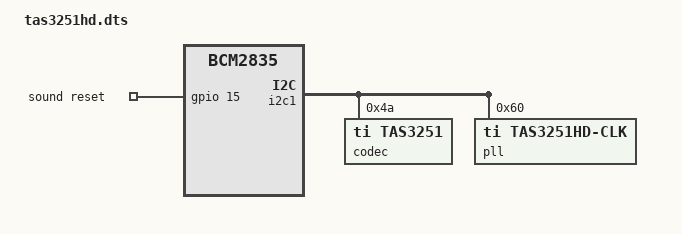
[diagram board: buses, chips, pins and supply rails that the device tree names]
// Definitions for HiFiBerry DAC+ HD
// dtc -I dts -O dtb -o /boot/overlays/tas3251hd.dtbo tas3251hd.dts
/dts-v1/;
/plugin/;

/ {
	compatible = "brcm,bcm2835";

	fragment@0 {
		target = <&i2s_clk_consumer>;
		__overlay__ {
			status = "okay";
		};
	};

	fragment@1 {
		target = <&i2c1>;
		__overlay__ {
			#address-cells = <1>;
			#size-cells = <0>;
			status = "okay";

			codec: tas3251@4a {
				compatible = "ti,tas3251";
				#sound-dai-cells = <0>;
				#clock-cells = <0>;
				reg = <0x4a>;
				firmware = "default";
//				AVDD-supply = <&vdd_3v3_reg>;
//				DVDD-supply = <&vdd_3v3_reg>;
//				CPVDD-supply = <&vdd_3v3_reg>;
//				GVDD-supply = <&vdd_5v0_reg>;
//				PVDD-supply = <&vdd_5v0_reg>;
//				pdn-gpios = <&gpio 17 0>;
//				mute-gpios = <&gpio 15 0>;
				status = "okay";
			};
			pll: pll@60 {
				compatible = "ti,tas3251hd-clk";
				#clock-cells = <0>;
				reg = <0x60>;
				clkout = <0>;
				status = "okay";
			};
		};
	};

	fragment@2 {
		target = <&sound>;
		__overlay__ {
			compatible = "ti,snd-tas3251hd";
			i2s-controller = <&i2s_clk_consumer>;
			clocks = <&pll 0>;
			reset-gpio = <&gpio 15 0>;
			status = "okay";
//			firmwares ="fw0, fw1, fw2, fw3, fw4,";
		};
	};

	__overrides__ {
		firmware = <&codec>,"firmware";
		i2creg = <&codec>,"reg:<>";
		clkout = <&pll>,"clkout:<>";
        pllreg = <&pll>,"reg:<>";
	};
};
